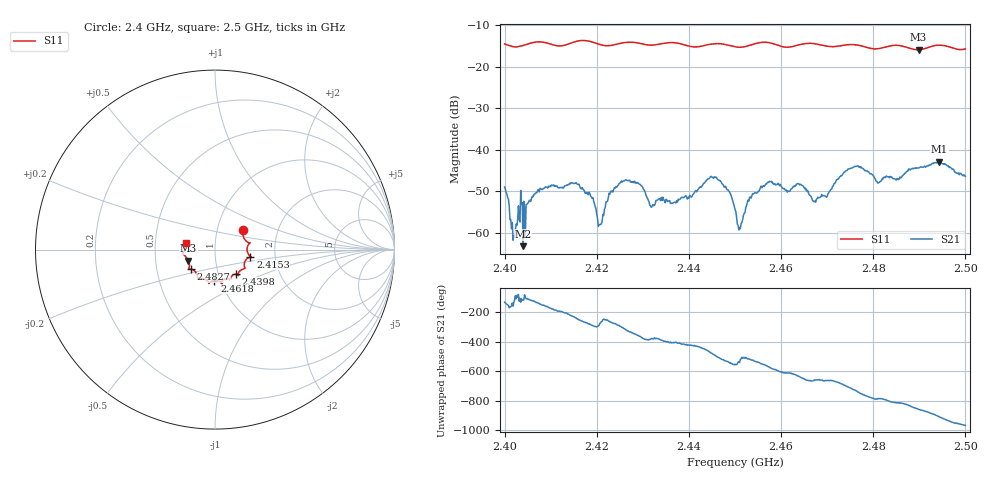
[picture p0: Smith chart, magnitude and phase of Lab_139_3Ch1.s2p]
# Hz S RI R 50
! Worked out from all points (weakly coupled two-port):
!   601 points, 2.4 GHz to 2.5 GHz, reference 50 ohm
!   highest |S21| = -42.89 dB at 2.4943 GHz (marker M1); lowest = -63.3 dB at 2.404 GHz (marker M2)
!   lowest |S11| = -15.9 dB at 2.4898 GHz (marker M3), VSWR 1.38, Z = 36.9 - j4.65 ohm
!   |S11| at or under -10 dB: start of sweep to end of sweep
!   S12 and S22 are empty: the file has one direction only
!   S11 on the Smith chart (normalised r, x): 2.4 GHz: 1.33, +0.29; 2.4153 GHz: 1.49, -0.12; 2.4398 GHz: 1.21, -0.34; 2.4618 GHz: 0.94, -0.33; 2.4827 GHz: 0.75, -0.17; 2.5 GHz: 0.72, +0.06
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2.4e9  0.1554 0.1066  -0.00239 -0.00263  0 0  0 0
2.401833e9  0.1568 0.077  -0.00076 -0.000283  0 0  0 0
2.404e9  0.1737 0.0469  -0.000342 -0.000596  0 0  0 0
2.4075e9  0.1959 0.0383  -0.0024 -0.00197  0 0  0 0
2.415333e9  0.1971 -0.0391  -0.00217 0.0033  0 0  0 0
2.416667e9  0.2028 -0.0434  -0.000633 0.0033  0 0  0 0
2.420667e9  0.1786 -0.0505  0.000135 0.00125  0 0  0 0
2.425833e9  0.1665 -0.1015  0.0027 0.00322  0 0  0 0
2.433333e9  0.1297 -0.1338  0.00238 -0.000832  0 0  0 0
2.439833e9  0.1153 -0.136  0.00123 -0.00237  0 0  0 0
2.4455e9  0.0839 -0.1701  -0.00297 -0.00367  0 0  0 0
2.45e9  0.0652 -0.1618  -0.00186 0.000395  0 0  0 0
2.451e9  0.0541 -0.163  -0.00116 8.08e-06  0 0  0 0
2.457167e9  0.0393 -0.1923  -0.00358 0.00191  0 0  0 0
2.461833e9  -0.00306 -0.1727  -0.00102 0.00297  0 0  0 0
2.466667e9  -0.0347 -0.1882  0.00151 0.00211  0 0  0 0
2.476167e9  -0.0956 -0.1573  0.00619 -0.00108  0 0  0 0
2.482667e9  -0.1349 -0.1086  0.00138 -0.00442  0 0  0 0
2.483333e9  -0.1401 -0.1083  0.000809 -0.00464  0 0  0 0
2.489833e9  -0.148 -0.0614  -0.00441 -0.0041  0 0  0 0
2.494333e9  -0.1811 -0.0213  -0.00709 0.00107  0 0  0 0
2.5e9  -0.1593 0.0388  -0.00192 0.00436  0 0  0 0
